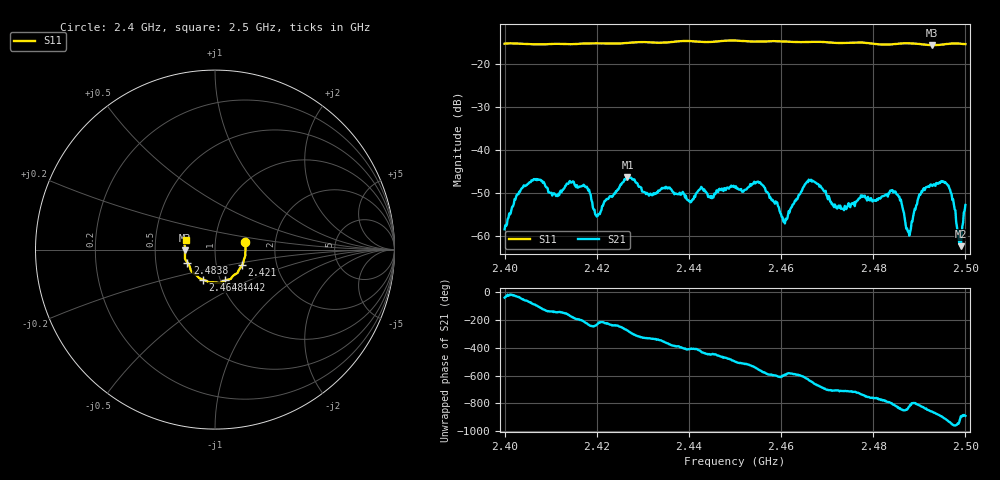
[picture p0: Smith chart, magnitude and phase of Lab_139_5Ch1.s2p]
# Hz S RI R 50
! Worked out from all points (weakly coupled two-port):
!   601 points, 2.4 GHz to 2.5 GHz, reference 50 ohm
!   highest |S21| = -46.36 dB at 2.4267 GHz (marker M1); lowest = -62.5 dB at 2.499 GHz (marker M2)
!   lowest |S11| = -15.6 dB at 2.4928 GHz (marker M3), VSWR 1.40, Z = 35.8 - j0.356 ohm
!   |S11| at or under -10 dB: start of sweep to end of sweep
!   S12 and S22 are empty: the file has one direction only
!   S11 on the Smith chart (normalised r, x): 2.4 GHz: 1.40, +0.12; 2.421 GHz: 1.33, -0.24; 2.4442 GHz: 1.05, -0.37; 2.4648 GHz: 0.83, -0.29; 2.4838 GHz: 0.73, -0.11; 2.5 GHz: 0.72, +0.08
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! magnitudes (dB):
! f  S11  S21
! 2.4 GHz  -15.2  -58.5
! 2.4063 GHz  -15.4  -46.8
! 2.4167 GHz  -15.2  -48.5
! 2.421 GHz  -15.2  -54.1
! 2.4267 GHz  -15.1  -46.4
! 2.4333 GHz  -15.0  -49.5
! 2.4442 GHz  -14.9  -51.0
! 2.45 GHz  -14.5  -48.8
! 2.4555 GHz  -14.8  -47.6
! 2.4608 GHz  -14.8  -57.2
! 2.4648 GHz  -14.9  -48.7
! 2.4667 GHz  -14.8  -47.4
! 2.4732 GHz  -15.1  -53.7
! 2.4833 GHz  -15.5  -50.1
! 2.4838 GHz  -15.4  -49.5
! 2.4857 GHz  -15.2  -50.9
! 2.4877 GHz  -15.2  -58.9
! 2.4903 GHz  -15.4  -50.2
! 2.4928 GHz  -15.6  -48.4
! 2.4962 GHz  -15.3  -48.3
! 2.499 GHz  -15.3  -62.5
! 2.5 GHz  -15.4  -52.9
